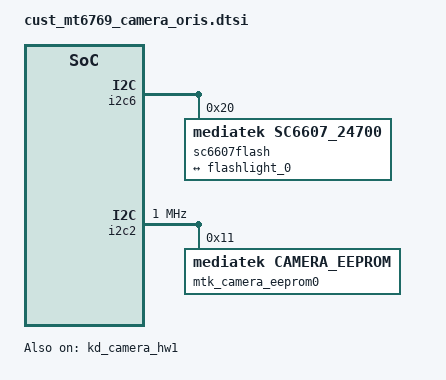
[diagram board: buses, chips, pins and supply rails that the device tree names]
/*
 * Copyright (c) 2019 MediaTek Inc.
 *
 * This program is free software; you can redistribute it and/or modify
 * it under the terms of the GNU General Public License version 2 as
 * published by the Free Software Foundation.
 *
 * This program is distributed in the hope that it will be useful,
 * but WITHOUT ANY WARRANTY; without even the implied warranty of
 * MERCHANTABILITY or FITNESS FOR A PARTICULAR PURPOSE.  See the
 * GNU General Public License for more details.
 */
/* CAMERA GPIO standardization */
&pio {
	camera0_rst_low: camera0_rst_output_low@gpio109 {
		pins_cmd_dat {
			pinmux = <PINMUX_GPIO109__FUNC_GPIO109>;
			output-low;
		};
	};
	camera0_rst_high: camera0_rst_output_high@gpio109 {
		pins_cmd_dat {
			pinmux = <PINMUX_GPIO109__FUNC_GPIO109>;
			output-high;
		};
	};
	camera1_rst_low: camera1_rst_output_low@gpio102 {
		pins_cmd_dat {
			pinmux = <PINMUX_GPIO102__FUNC_GPIO102>;
			output-low;
		};
	};
	camera1_rst_high: camera1_rst_output_high@gpio102 {
		pins_cmd_dat {
			pinmux = <PINMUX_GPIO102__FUNC_GPIO102>;
			output-high;
		};
	};
	camera0_vcamd_on: camera0_vcamd_output_high@gpio178 {
		pins_cmd_dat {
			pinmux = <PINMUX_GPIO178__FUNC_GPIO178>;
			output-high;
		};
	};
	camera0_vcamd_off: camera0_vcamd_output_low@gpio178 {
		pins_cmd_dat {
			pinmux = <PINMUX_GPIO178__FUNC_GPIO178>;
			output-low;
		};
	};
	camera0_mclk_off: camera0_mclk_gpio_mode@gpio108 {
		pins_cmd_dat {
			pinmux = <PINMUX_GPIO108__FUNC_GPIO108>;
			drive-strength = <MTK_DRIVE_2mA>;
		};
	};
	camera0_mclk_2mA: camera0_mclk_2mA@gpio108 {
		pins_cmd_dat {
			pinmux = <PINMUX_GPIO108__FUNC_CMMCLK2>;
			drive-strength = <MTK_DRIVE_2mA>;
		};
	};
	camera0_mclk_4mA: camera0_mclk_4mA@gpio108 {
		pins_cmd_dat {
			pinmux = <PINMUX_GPIO108__FUNC_CMMCLK2>;
			drive-strength = <MTK_DRIVE_4mA>;
		};
	};
	camera1_mclk_off: camera1_mclk_gpio_mode@gpio100 {
		pins_cmd_dat {
			pinmux = <PINMUX_GPIO100__FUNC_GPIO100>;
			drive-strength = <MTK_DRIVE_2mA>;
		};
	};
	camera1_mclk_2mA: camera1_mclk_2mA@gpio100 {
		pins_cmd_dat {
			pinmux = <PINMUX_GPIO100__FUNC_CMMCLK1>;
			drive-strength = <MTK_DRIVE_2mA>;
		};
	};
	camera_pins_default: camdefault {
	};

};

&kd_camera_hw1 {
	cam0_enable_sensor = "ov50d40_mipi_raw_oris";
	cam1_enable_sensor = "hi846_mipi_raw_oris";

	pinctrl-names = "default",
			"cam0_rst0", "cam0_rst1",
			"cam1_rst0", "cam1_rst1",
			"cam0_vcamd_on",
			"cam0_vcamd_off",

			"cam0_mclk_off",
			"cam0_mclk_2mA",
			"cam0_mclk_4mA",

			"cam1_mclk_off",
			"cam1_mclk_2mA";

	pinctrl-0 = <&camera_pins_default>;
	pinctrl-1 = <&camera0_rst_low>;
	pinctrl-2 = <&camera0_rst_high>;
	pinctrl-3 = <&camera1_rst_low>;
	pinctrl-4 = <&camera1_rst_high>;
	pinctrl-5 = <&camera0_vcamd_on>;
	pinctrl-6 = <&camera0_vcamd_off>;
	pinctrl-7 = <&camera0_mclk_off>;
	pinctrl-8 = <&camera0_mclk_2mA>;
	pinctrl-9 = <&camera0_mclk_4mA>;
	pinctrl-10 = <&camera1_mclk_off>;
	pinctrl-11 = <&camera1_mclk_2mA>;

	cam0_vcamio-supply = <&mt_pmic_vcamio_ldo_reg>;
	cam0_vcamd-supply = <&mt_pmic_vcamd_ldo_reg>;
	cam0_vcama-supply = <&mt_pmic_vcama2_ldo_reg>;
	cam0_vcamaf-supply = <&mt_pmic_vio28_ldo_reg>;

	cam1_vcamio-supply = <&mt_pmic_vcamio_ldo_reg>;
	cam1_vcamd-supply = <&mt_pmic_vcamd_ldo_reg>;
	cam1_vcama-supply = <&mt_pmic_vcama1_ldo_reg>;

	status = "okay";
};

&i2c6 {
    sc6607flash:sc6607flash@20 {
        compatible = "mediatek,sc6607_24700";
        reg = <0x20>;
        #cooling-cells = <2>;
        /*pinctrl-names = "default", "hwen_high", "hwen_low";
        pinctrl-0 = <&flash_pins_default>;
        pinctrl-1 = <&flash_pins_hwen_high>;
        pinctrl-2 = <&flash_pins_hwen_low>;*/
        status = "okay";
        flash@0{
            reg = <0>;
            type = <0>;
            ct = <0>;
            part = <0>;
            port@0 {
                fl_core_0: endpoint {
                    remote-endpoint = <&flashlight_0>;
                };
            };
        };
    };
};

&mtk_composite_v4l2_1 {
    port@0 {
        flashlight_0: endpoint {
            remote-endpoint = <&fl_core_0>;
        };
    };
};

/* CAMERA GPIO end */

&i2c2 {
	status = "okay";
	clock-frequency = <1000000>;
	#address-cells = <1>;
	#size-cells = <0>;

	mtk_camera_eeprom0:camera_eeprom0@11 {
		compatible = "mediatek,camera_eeprom";
		reg = <0x11>;
		status = "okay";
	};
};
